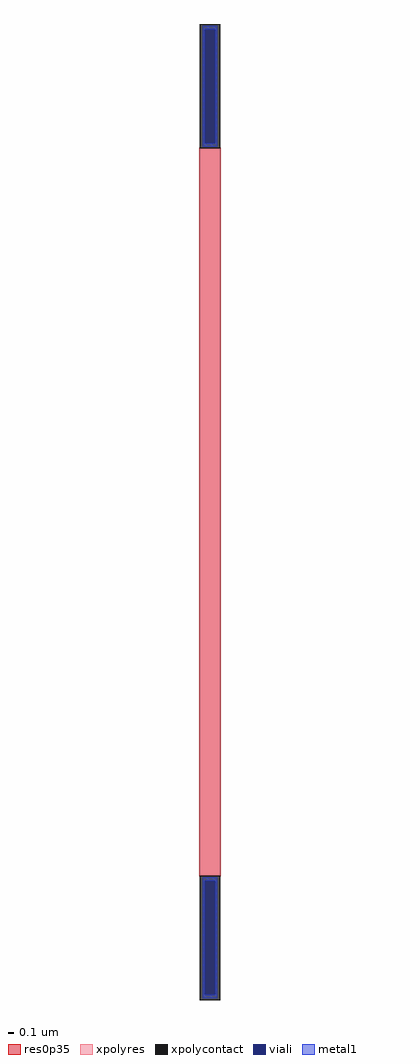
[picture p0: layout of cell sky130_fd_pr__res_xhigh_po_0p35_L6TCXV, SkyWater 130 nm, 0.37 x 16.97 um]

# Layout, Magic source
magic
tech sky130A
magscale 1 2
<< xpolycontact >>
rect -35 1265 35 1697
rect -35 -1697 35 -1265
<< xpolyres >>
rect -35 -1265 35 1265
<< viali >>
rect -19 1282 19 1679
rect -19 -1679 19 -1282
<< metal1 >>
rect -25 1679 25 1691
rect -25 1282 -19 1679
rect 19 1282 25 1679
rect -25 1270 25 1282
rect -25 -1282 25 -1270
rect -25 -1679 -19 -1282
rect 19 -1679 25 -1282
rect -25 -1691 25 -1679
<< res0p35 >>
rect -37 -1267 37 1267
<< properties >>
string gencell sky130_fd_pr__res_xhigh_po_0p35
string library sky130
string parameters w 0.350 l 12.65 m 1 nx 1 wmin 0.350 lmin 0.50 rho 2000 val 73.361k dummy 0 dw 0.0 term 188.2 sterm 0.0 caplen 0 wmax 0.350 guard 0 glc 1 grc 1 gtc 1 gbc 1 compatible {sky130_fd_pr__res_xhigh_po_0p35  sky130_fd_pr__res_xhigh_po_0p69 sky130_fd_pr__res_xhigh_po_1p41  sky130_fd_pr__res_xhigh_po_2p85 sky130_fd_pr__res_xhigh_po_5p73} full_metal 1 n_guard 0 hv_guard 0 vias 1 viagb 0 viagt 0 viagl 0 viagr 0
<< end >>
